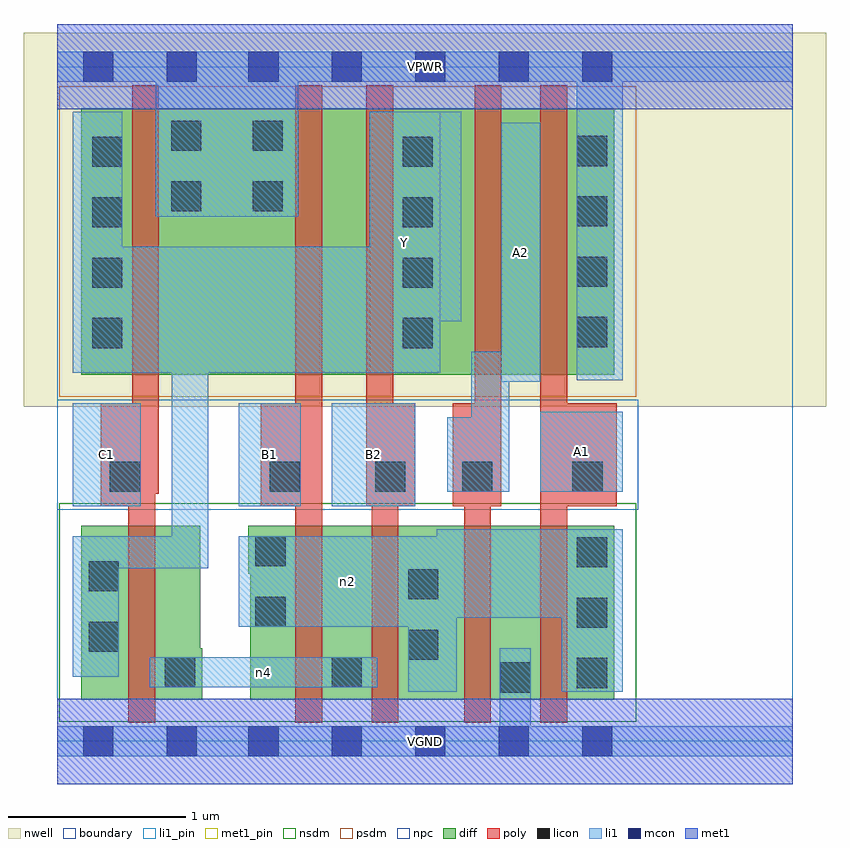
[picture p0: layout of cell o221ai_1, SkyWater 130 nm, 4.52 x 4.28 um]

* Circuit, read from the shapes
.subckt o221ai_1 A1 A2 B1 B2 C1 VGND VPWR Y n2 n4
XM1 n4 C1 Y VSUBS sky130_fd_pr__nfet_01v8 w=0.98 l=0.15
XM2 n4 B1 n2 VSUBS sky130_fd_pr__nfet_01v8 w=0.98 l=0.15
XM3 n2 B2 n4 VSUBS sky130_fd_pr__nfet_01v8 w=0.98 l=0.15
XM4 VGND A2 n2 VSUBS sky130_fd_pr__nfet_01v8 w=0.98 l=0.15
XM5 n2 A1 VGND VSUBS sky130_fd_pr__nfet_01v8 w=0.98 l=0.15
XM6 VPWR C1 Y n1 sky130_fd_pr__pfet_01v8 w=1.5 l=0.15
XM7 n3 B1 VPWR n1 sky130_fd_pr__pfet_01v8 w=1.5 l=0.15
XM8 Y B2 n3 n1 sky130_fd_pr__pfet_01v8 w=1.5 l=0.15
XM9 n5 A2 Y n1 sky130_fd_pr__pfet_01v8 w=1.5 l=0.15
XM10 VPWR A1 n5 n1 sky130_fd_pr__pfet_01v8 w=1.5 l=0.15
.ends

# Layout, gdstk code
import gdstk
lib = gdstk.Library(unit=1e-6, precision=1e-09)
def R(c, l, rs):  # rectangles x0, y0, x1, y1
    for r in rs: c.add(gdstk.rectangle(r[:2], r[2:], *l))
def A(c, l, x, y, w, h, nx, ny, dx, dy):  # array of equal rectangles
    R(c, l, [(x+i*dx, y+j*dy, x+i*dx+w, y+j*dy+h) for i in range(nx) for j in range(ny)])
nwell = (64, 20)
diff = (65, 20)
poly = (66, 20)
licon = (66, 44)
li1_pin = (67, 16)
li1 = (67, 20)
mcon = (67, 44)
met1_pin = (68, 16)
met1 = (68, 20)
nsdm = (93, 44)
psdm = (94, 20)
npc = (95, 20)
boundary = (235, 4)

o221ai_1 = lib.new_cell('o221ai_1')
R(o221ai_1, nwell, [(-0.19,1.885,4.33,3.99), (0,1.885,4.14,3.99)])
R(o221ai_1, diff, [(0.135,0.235,0.805,1.215), (0.135,0.235,0.815,0.525), (1.085,0.235,3.135,1.215), (1.075,0.945,3.135,1.215), (0.135,2.065,3.135,3.565)])
R(o221ai_1, poly, [(0.4,0.105,0.55,1.905), (1.34,0.105,1.49,3.695), (1.77,0.105,1.92,1.905), (2.29,0.105,2.44,1.905), (2.72,0.105,2.87,3.695), (0.245,1.325,0.55,1.905), (1.145,1.325,1.49,1.905), (1.74,1.325,1.89,3.695), (1.74,1.325,2.015,1.905), (2.225,1.325,2.5,1.905), (2.35,1.325,2.5,3.695), (2.72,1.325,3.15,1.905), (0.42,1.395,0.57,3.695)])
A(o221ai_1, licon, 2.925, 0.3, 0.17, 0.17, 1, 3, 0, 0.34)
A(o221ai_1, licon, 0.195, 2.215, 0.17, 0.17, 1, 4, 0, 0.34)
A(o221ai_1, licon, 1.945, 2.215, 0.17, 0.17, 1, 4, 0, 0.34)
A(o221ai_1, licon, 2.925, 2.22, 0.17, 0.17, 1, 4, 0, 0.34)
R(o221ai_1, licon, [(2.495,0.275,2.665,0.445), (0.605,0.305,0.775,0.475), (1.545,0.305,1.715,0.475), (1.975,0.46,2.145,0.63), (0.175,0.505,0.345,0.675), (1.115,0.645,1.285,0.815), (1.975,0.8,2.145,0.97), (0.175,0.845,0.345,1.015), (1.115,0.985,1.285,1.155), (0.295,1.405,0.465,1.575), (1.195,1.405,1.365,1.575), (1.79,1.405,1.96,1.575), (2.28,1.405,2.45,1.575), (2.9,1.405,3.07,1.575), (0.64,2.985,0.81,3.155), (1.1,2.985,1.27,3.155), (0.64,3.325,0.81,3.495), (1.1,3.325,1.27,3.495)])
R(o221ai_1, li1_pin, [(0.085,1.325,0.47,1.905), (1.02,1.325,1.37,1.905), (1.545,1.325,2.015,1.905), (2.72,1.405,3.185,1.855), (2.5,2.025,2.72,3.485), (1.76,2.075,2.155,3.545)])
R(o221ai_1, li1, [(0,-0.085,4.14,0.085), (2.49,-0.085,2.665,0.525), (1.975,0.28,2.25,1.155), (2.84,0.28,3.185,1.195), (0.52,0.305,1.8,0.475), (0.085,0.365,0.345,1.155), (1.02,0.645,2.25,1.155), (2.135,0.695,3.185,1.195), (0.085,0.975,0.85,1.155), (0.645,0.975,0.85,2.785), (0.085,1.325,0.47,1.905), (1.02,1.325,1.37,1.905), (1.545,1.325,2.015,1.905), (2.195,1.405,2.545,1.825), (2.33,1.405,2.545,2.195), (2.72,1.405,3.185,1.855), (2.5,2.025,2.72,3.485), (2.925,2.035,3.185,3.885), (0.085,2.075,2.155,2.785), (0.085,2.075,0.365,3.545), (1.76,2.075,2.155,3.545), (1.76,2.365,2.275,3.545), (0.555,2.955,1.355,3.885), (0,3.715,4.14,3.885)])
A(o221ai_1, mcon, 1.075, -0.085, 0.17, 0.17, 5, 2, 0.47, 3.8)
R(o221ai_1, mcon, [(0.145,-0.085,0.315,0.085), (0.615,-0.085,0.785,0.085), (0.145,3.715,0.315,3.885), (0.615,3.715,0.785,3.885)])
R(o221ai_1, met1_pin, [(0,-0.24,4.14,0.24), (0,3.56,4.14,4.04)])
R(o221ai_1, met1, [(0,-0.24,4.14,0.24), (0,3.56,4.14,4.04)])
R(o221ai_1, nsdm, [(0.01,0.11,3.26,1.34)])
R(o221ai_1, psdm, [(0.01,1.94,3.26,3.69)])
R(o221ai_1, npc, [(0,1.305,3.27,1.925)])
R(o221ai_1, boundary, [(0,0,4.14,3.8)])
o221ai_1.add(gdstk.Label('A1', (2.952,1.63), layer=67, texttype=5))
o221ai_1.add(gdstk.Label('A2', (2.61,2.755), layer=67, texttype=5))
o221ai_1.add(gdstk.Label('B1', (1.195,1.615), layer=67, texttype=5))
o221ai_1.add(gdstk.Label('B2', (1.78,1.615), layer=67, texttype=5))
o221ai_1.add(gdstk.Label('C1', (0.277,1.615), layer=67, texttype=5))
o221ai_1.add(gdstk.Label('Y', (1.957,2.81), layer=67, texttype=5))
o221ai_1.add(gdstk.Label('n4', (1.16,0.39), layer=67, texttype=5))
o221ai_1.add(gdstk.Label('n2', (1.635,0.9), layer=67, texttype=5))
o221ai_1.add(gdstk.Label('VPWR', (2.07,3.8), layer=68, texttype=5))
o221ai_1.add(gdstk.Label('VGND', (2.07,0), layer=68, texttype=5))
o221ai_1.add(gdstk.Label('A1', (2.952,1.63), layer=67, texttype=16))
o221ai_1.add(gdstk.Label('A2', (2.61,2.755), layer=67, texttype=16))
o221ai_1.add(gdstk.Label('B1', (1.195,1.615), layer=67, texttype=16))
o221ai_1.add(gdstk.Label('B2', (1.78,1.615), layer=67, texttype=16))
o221ai_1.add(gdstk.Label('C1', (0.277,1.615), layer=67, texttype=16))
o221ai_1.add(gdstk.Label('Y', (1.957,2.81), layer=67, texttype=16))
o221ai_1.add(gdstk.Label('VPWR', (2.07,3.8), layer=68, texttype=16))
o221ai_1.add(gdstk.Label('VGND', (2.07,0), layer=68, texttype=16))

lib.write_gds('o221ai_1.gds')
